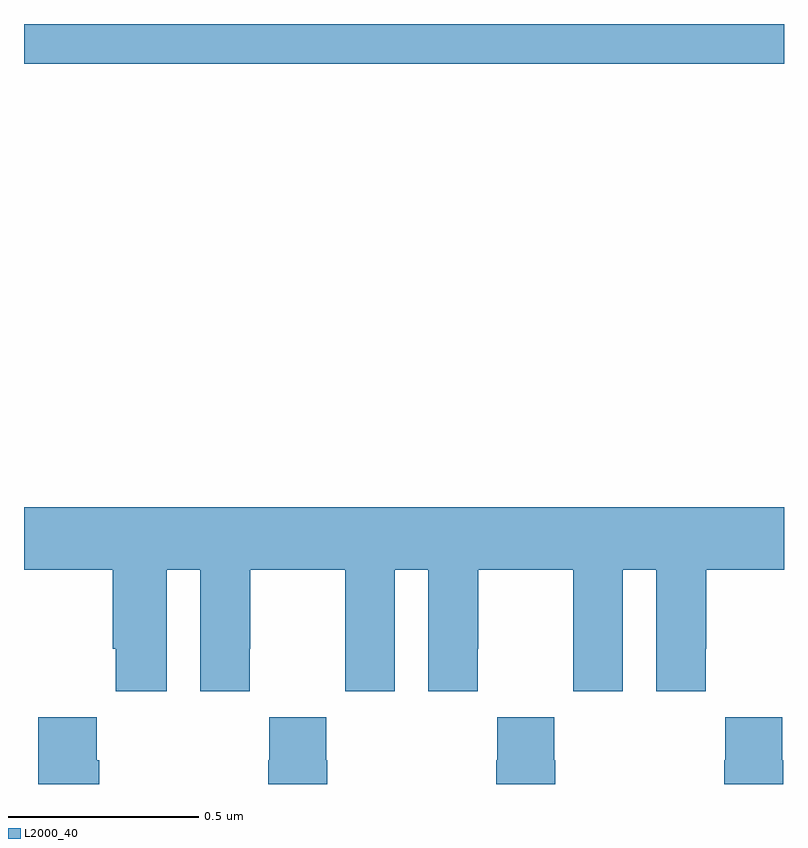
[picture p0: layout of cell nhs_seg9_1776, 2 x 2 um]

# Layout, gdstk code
import gdstk
lib = gdstk.Library(unit=1e-6, precision=1e-09)
def R(c, l, rs):  # rectangles x0, y0, x1, y1
    for r in rs: c.add(gdstk.rectangle(r[:2], r[2:], *l))
def P(c, l, *ps):  # polygons
    for p in ps: c.add(gdstk.Polygon(p, *l))
L2000_40 = (2000, 40)

nhs_seg9_1776 = lib.new_cell('nhs_seg9_1776')
R(nhs_seg9_1776, L2000_40, [(132,1220.396,134,1220.5)])
P(nhs_seg9_1776, L2000_40, [(132.376,1219.064),(132.464,1219.064),(132.464,1218.744),(132.594,1218.744),(132.594,1218.856),(132.595,1218.856),(132.595,1219.064),(132.845,1219.064),(132.845,1218.856),(132.846,1218.856),(132.846,1218.744),(132.976,1218.744),(132.976,1219.064),(133.064,1219.064),(133.064,1218.744),(133.194,1218.744),(133.194,1218.856),(133.195,1218.856),(133.195,1219.064),(133.445,1219.064),(133.445,1218.856),(133.446,1218.856),(133.446,1218.744),(133.576,1218.744),(133.576,1219.064),(133.664,1219.064),(133.664,1218.744),(133.794,1218.744),(133.794,1218.856),(133.795,1218.856),(133.795,1219.064),(134,1219.064),(134,1219.228),(132,1219.228),(132,1219.064),(132.233,1219.064),(132.233,1218.856),(132.242,1218.856),(132.242,1218.744),(132.376,1218.744)],
  [(133.998,1218.563),(133.995,1218.563),(133.995,1218.676),(133.845,1218.676),(133.845,1218.563),(133.843,1218.563),(133.843,1218.5),(133.998,1218.5)],
  [(133.398,1218.563),(133.395,1218.563),(133.395,1218.676),(133.245,1218.676),(133.245,1218.563),(133.243,1218.563),(133.243,1218.5),(133.398,1218.5)],
  [(132.798,1218.563),(132.795,1218.563),(132.795,1218.676),(132.645,1218.676),(132.645,1218.563),(132.643,1218.563),(132.643,1218.5),(132.798,1218.5)],
  [(132.198,1218.563),(132.191,1218.563),(132.191,1218.676),(132.038,1218.676),(132.038,1218.5),(132.198,1218.5)])

lib.write_gds('nhs_seg9_1776.gds')
